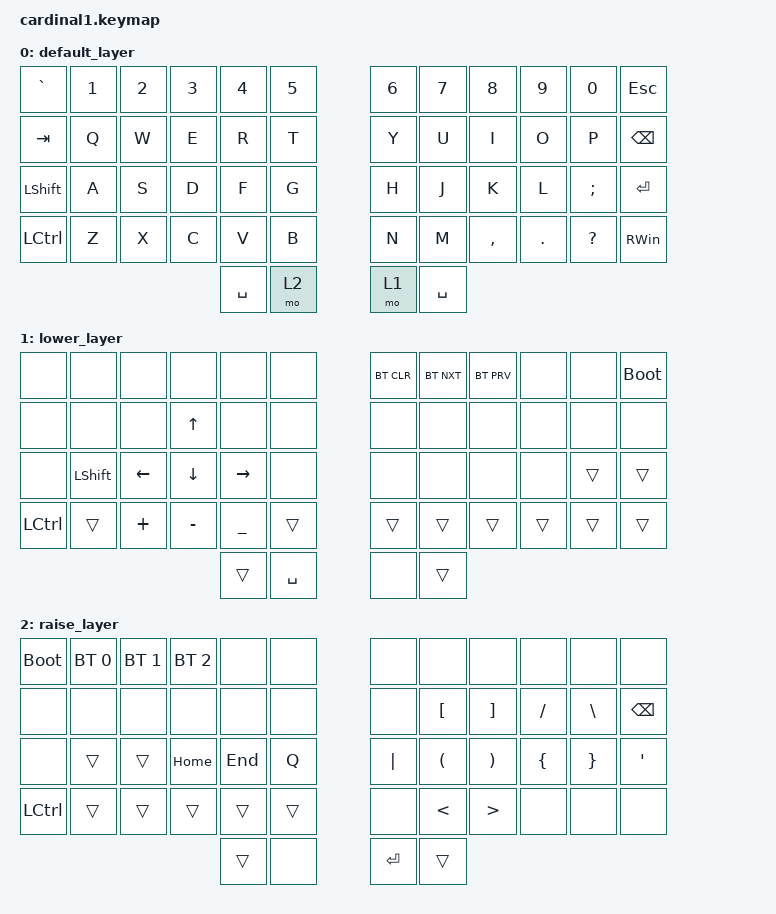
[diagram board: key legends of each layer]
/*
 * Copyright (c) 2020 The ZMK Contributors
 *
 * SPDX-License-Identifier: MIT
 */

#include <behaviors.dtsi>
#include <dt-bindings/zmk/keys.h>
#include <dt-bindings/zmk/bt.h>

/ {
    keymap {
        compatible = "zmk,keymap";

        default_layer {

            bindings = <
    &kp GRAVE         &kp N1 &kp N2 &kp N3 &kp N4     &kp N5        &kp N6 &kp N7   &kp N8        &kp N9      &kp N0     &kp ESC 
    &kp TAB           &kp Q  &kp W  &kp E  &kp R      &kp T         &kp Y  &kp U    &kp I         &kp O       &kp P      &kp BSPC
    &kp LEFT_SHIFT    &kp A  &kp S  &kp D  &kp F      &kp G         &kp H  &kp J    &kp K         &kp L       &kp SEMI   &kp ENTER
    &kp LEFT_CONTROL  &kp Z  &kp X  &kp C  &kp V      &kp B         &kp N  &kp M    &kp COMMA     &kp PERIOD  &kp QUESTION  &kp RIGHT_WIN
                                           &kp SPACE  &mo 2         &mo 1  &kp SPACE     
            >;
        };
   
        lower_layer {
            bindings = <
    &none             &none           &none     &none           &none      &none        &bt BT_CLR   &bt BT_NXT    &bt BT_PRV   &none   &none   &bootloader
    &none             &none           &none     &kp UP_ARROW    &none      &none        &none        &none         &none        &none   &none   &none
    &none             &kp LEFT_SHIFT  &kp LEFT  &kp DOWN_ARROW  &kp RIGHT  &none        &none        &none         &none        &none   &trans  &trans
    &kp LEFT_CONTROL  &trans          &kp PLUS  &kp MINUS       &kp UNDER  &trans       &trans       &trans        &trans       &trans  &trans  &trans
                                                                &trans     &kp SPACE    &none        &trans  
            >;
        };

        raise_layer {
            bindings = <
    &bootloader      &bt BT_SEL 0   &bt BT_SEL 1   &bt BT_SEL 2   &none    &none         &none     &none                 &none                  &none           &none            &none
    &none            &none          &none          &none          &none    &none         &none     &kp LEFT_BRACKET      &kp RIGHT_BRACKET      &kp SLASH       &kp BACKSLASH    &kp BSPC
    &none            &trans         &trans         &kp HOME       &kp END  &kp Q         &kp PIPE  &kp LEFT_PARENTHESIS  &kp RIGHT_PARENTHESIS  &kp LEFT_BRACE  &kp RIGHT_BRACE  &kp APOS
    &kp LEFT_CONTROL &trans         &trans         &trans         &trans   &trans        &none     &kp LESS_THAN         &kp GREATER_THAN       &none           &none            &none
                                                                  &trans   &none         &kp RET   &trans                
            >;
        };
    };
};
